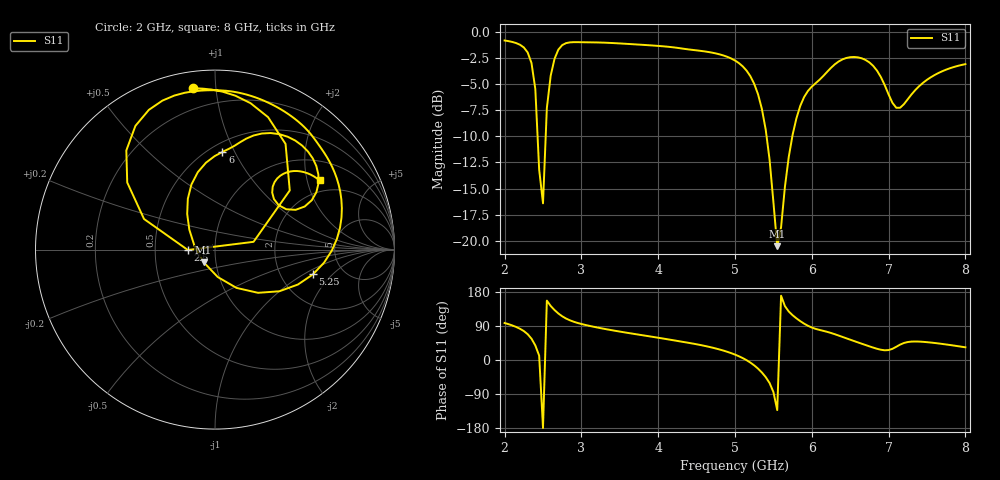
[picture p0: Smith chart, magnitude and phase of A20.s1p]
! Generated by Hertzon (EMerge FEM)
# HZ S RI R 50
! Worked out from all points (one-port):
!   121 points, 2 GHz to 8 GHz, reference 50 ohm
!   lowest |S11| = -20.5 dB at 5.55 GHz (marker M1), VSWR 1.21, Z = 43.6 - j6.16 ohm
!   |S11| at or under -10 dB: 2.429 GHz to 2.535 GHz (105.9 MHz wide, 4.27 % of centre); 5.411 GHz to 5.747 GHz (335.9 MHz wide, 6.02 % of centre)
!   S11 on the Smith chart (normalised r, x): 2 GHz: 0.09, +0.87; 2.5 GHz: 0.74, -0.00; 5.25 GHz: 3.03, -1.22; 6 GHz: 0.58, +0.90; 8 GHz: 1.59, +2.39
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2e9  -0.1207 0.8985
2.25e9  0.1977 0.816
2.35e9  0.3931 0.5888
2.4e9  0.4166 0.3296
2.45e9  0.2149 0.0433
2.5e9  -0.1513 -0.00216
2.55e9  -0.3955 0.1705
2.6e9  -0.489 0.3739
2.75e9  -0.3683 0.7787
3e9  -0.0781 0.8858
3.5e9  0.2272 0.8474
4.25e9  0.534 0.6428
4.7e9  0.6661 0.4305
5e9  0.7048 0.179
5.25e9  0.5458 -0.1379
5.4e9  0.2397 -0.2408
5.55e9  -0.0634 -0.07
5.75e9  -0.1514 0.2832
5.85e9  -0.0959 0.4313
6e9  0.041 0.5441
6.3e9  0.2612 0.6468
6.5e9  0.4474 0.6074
6.8e9  0.5767 0.3699
7e9  0.4492 0.2215
7.1e9  0.3549 0.2474
7.25e9  0.3214 0.3501
7.55e9  0.42 0.4354
8e9  0.583 0.385
